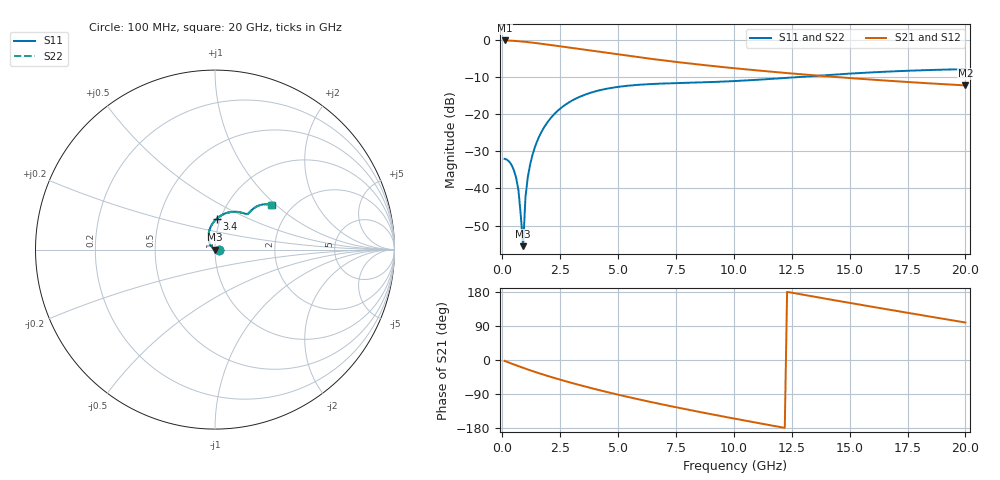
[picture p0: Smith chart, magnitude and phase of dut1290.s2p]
! Touchstone file exported from HFSS 2024.1.0
!  File:  C:/UserFiles/LocalFiles/RDL_TSV_Batchsim/temp_RDL_TSV_1290_1780279654.aedt
!  Generated:  10:23:43 AM Jun  1, 2026
!  Design:  RDL_TSV
!  Project:  temp_RDL_TSV_1290_1780279654
!  Setup:  Setup1
!  Solution:  Sweep
! Variables:
!  dtsv = 14.37um
!  hbump = 3um
!  htsv = 90.48um
!  ldown = 552.09um
!  lrdl = 432.04um
!  p = 40
!  p1 = 48.37um
!  rhole = 10um
!  subl = 3384.43um
!  t = 450um
!  tdown = 4.37um
!  trdl = 2.91um
!  viad = 10um
!  wdown = 23.46um
!  wrdl = 10.56um
!  xbump = 18um
# GHz S MA R 50.000000
! Terminal data exported
! Port[1] = TM1_1_T1
! Port[2] = TM1_4_T1
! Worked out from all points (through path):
!   200 points, 100 MHz to 20 GHz, reference 50 ohm
!   highest |S21| = -0.23 dB at 100 MHz (marker M1); lowest = -12.3 dB at 20 GHz (marker M2)
!   group delay of S21, straight-line fit = 34.2 ps
!   lowest |S11| = -55.5 dB at 900 MHz (marker M3), VSWR 1.00, Z = 49.8 - j0.0056 ohm
!   |S11| at or under -10 dB: start of sweep to 12.91 GHz
!   |S22| runs from -55.6 to -8.0 dB; largest |S21 - S12| = 1e-14
!   S11 on the Smith chart (normalised r, x): 100 MHz: 1.05, -0.00; 3.4 GHz: 0.96, +0.34; 20 GHz: 1.58, +0.93
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0.1  0.02502 -2.4  0.9741 -2.4  0.9741 -2.4  0.02502 -2.4
! Gamma 0 0 0 0
! Port Impedance 50 0 50 0
0.4  0.02072 -13.2  0.9658 -9.5  0.9658 -9.5  0.02073 -13.2
0.6  0.01383 -22.3  0.9569 -14.0  0.9569 -14.0  0.01385 -22.3
0.7  0.009348 -27.8  0.9516 -16.3  0.9516 -16.3  0.009375 -27.9
0.8  0.004297 -38.0  0.9457 -18.5  0.9457 -18.5  0.004332 -38.1
0.9  0.001679 -178.1  0.9394 -20.7  0.9394 -20.7  0.001651 -176.9
1  0.007579 153.3  0.9326 -22.8  0.9326 -22.8  0.007531 153.5
1.1  0.01405 146.8  0.9255 -25.0  0.9255 -25.0  0.014 146.9
1.3  0.02799 138.4  0.9105 -29.1  0.9105 -29.1  0.02792 138.4
1.5  0.04283 131.4  0.8947 -33.2  0.8947 -33.2  0.04273 131.5
1.9  0.0736 119.4  0.862 -41.0  0.862 -41.0  0.07347 119.5
2.3  0.1038 109.0  0.8291 -48.4  0.8291 -48.4  0.1037 109.1
2.8  0.1385 97.8  0.7888 -57.1  0.7888 -57.1  0.1383 97.8
3.4  0.1735 86.5  0.7423 -67.2  0.7423 -67.2  0.1733 86.5
3.5  0.1786 84.8  0.7348 -68.8  0.7348 -68.8  0.1784 84.8
5.1  0.2339 64.3  0.6257 -92.9  0.6257 -92.9  0.2337 64.3
6.8  0.256 52.7  0.5333 -115.8  0.5333 -115.8  0.2557 52.7
8.4  0.2651 48.3  0.4659 -135.7  0.4659 -135.7  0.2648 48.3
10.1  0.2781 47.3  0.4102 -155.6  0.4102 -155.6  0.2778 47.3
13.4  0.324 46.5  0.3326 167.8  0.3326 167.8  0.3237 46.5
16.7  0.3724 42.7  0.2796 132.9  0.2796 132.9  0.3719 42.7
20  0.4008 38.2  0.2425 98.9  0.2425 98.9  0.4002 38.2
